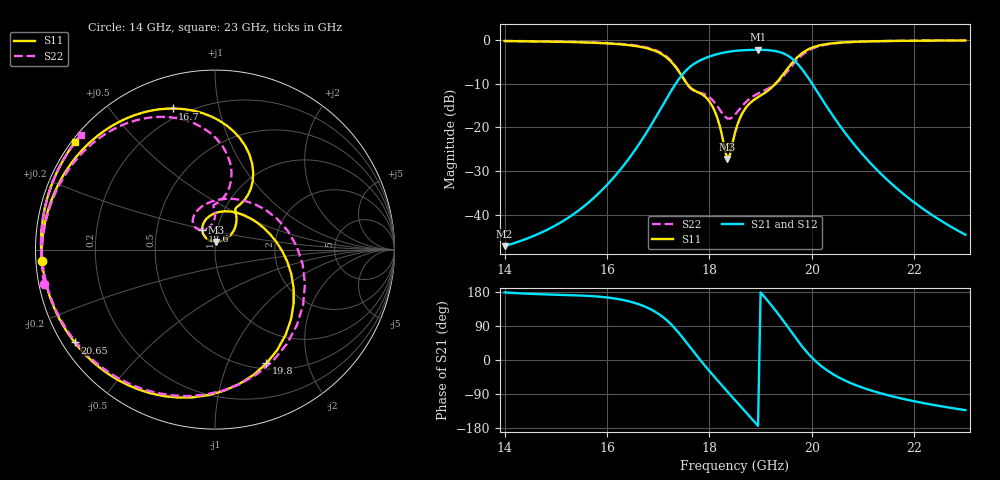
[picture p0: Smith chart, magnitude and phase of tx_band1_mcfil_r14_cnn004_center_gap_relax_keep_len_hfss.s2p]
! Touchstone file exported from HFSS 3D Layout Design 2026.1.0
!  File:  D:/Work/SIM/ADS_AUTO_SIM/projects/RFSOC_RF/TX_Fillter.aedt
!  Generated:  12:42:33 AM Aug 31, 2026
!  Design:  TX_BAND1_MCFIL_R14_CNN004
!  Project:  TX_Fillter
# GHz S MA R 50.000000
! Terminal data exported
! Port[1] = Port1
! Port[2] = Port2
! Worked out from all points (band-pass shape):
!   181 points, 14 GHz to 23 GHz, reference 50 ohm
!   highest |S21| = -2.28 dB at 18.95 GHz (marker M1); lowest = -47.2 dB at 14 GHz (marker M2)
!   |S21| within 3 dB of the highest: 17.73 GHz to 19.71 GHz (1.976 GHz wide, 10.6 % of centre)
!   lowest |S11| = -27.3 dB at 18.35 GHz (marker M3), VSWR 1.09, Z = 50.6 + j4.32 ohm
!   |S11| at or under -10 dB: 17.56 GHz to 19.29 GHz (1.734 GHz wide, 9.41 % of centre)
!   |S22| runs from -18.1 to -0.1 dB; largest |S21 - S12| = 1.3e-13
!   S11 on the Smith chart (normalised r, x): 14 GHz: 0.02, -0.03; 16.7 GHz: 0.15, +0.73; 18.6 GHz: 0.85, +0.18; 19.8 GHz: 0.57, -1.39; 20.65 GHz: 0.04, -0.30; 23 GHz: 0.01, +0.34
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14  0.9687 -176.1  0.004341 178.3  0.004341 178.3  0.9715 -168.8
15.5  0.9368 150.9  0.01177 170.0  0.01177 170.0  0.9431 160.0
16.15  0.8994 130.8  0.02736 162.3  0.02736 162.3  0.9092 141.5
16.7  0.821 106.7  0.07447 143.2  0.07447 143.2  0.8354 119.4
17  0.721 88.4  0.1449 122.2  0.1449 122.2  0.7374 102.6
17.25  0.564 70.1  0.2585 94.3  0.2585 94.3  0.5777 85.8
17.5  0.3546 58.9  0.4183 55.2  0.4183 55.2  0.355 77.0
17.85  0.2387 61.3  0.5938 -5.0  0.5938 -5.0  0.2452 92.1
18.1  0.1546 46.1  0.6725 -44.8  0.6725 -44.8  0.1921 89.7
18.35  0.04334 79.6  0.7271 -83.3  0.7271 -83.3  0.1261 108.3
18.5  0.0866 128.1  0.7472 -106.0  0.7472 -106.0  0.1389 127.4
18.6  0.1282 123.5  0.7562 -121.0  0.7562 -121.0  0.164 131.7
18.95  0.2208 75.4  0.7687 -173.9  0.7687 -173.9  0.2429 112.1
19.15  0.2637 41.2  0.7616 154.5  0.7616 154.5  0.2778 86.7
19.4  0.3748 -1.3  0.7159 111.4  0.7159 111.4  0.3591 37.9
19.6  0.5299 -34.2  0.6196 74.1  0.6196 74.1  0.4949 -9.4
19.8  0.6956 -65.6  0.4689 37.6  0.4689 37.6  0.6613 -52.9
20  0.8118 -92.6  0.3187 6.6  0.3187 6.6  0.7883 -87.2
20.3  0.8971 -122.6  0.1696 -27.5  0.1696 -27.5  0.8871 -122.6
20.65  0.9375 -146.5  0.08618 -54.3  0.08618 -54.3  0.9347 -148.9
21.5  0.9701 178.1  0.02413 -93.5  0.02413 -93.5  0.9712 174.7
23  0.9832 142.3  0.005872 -132.3  0.005872 -132.3  0.984 139.5
